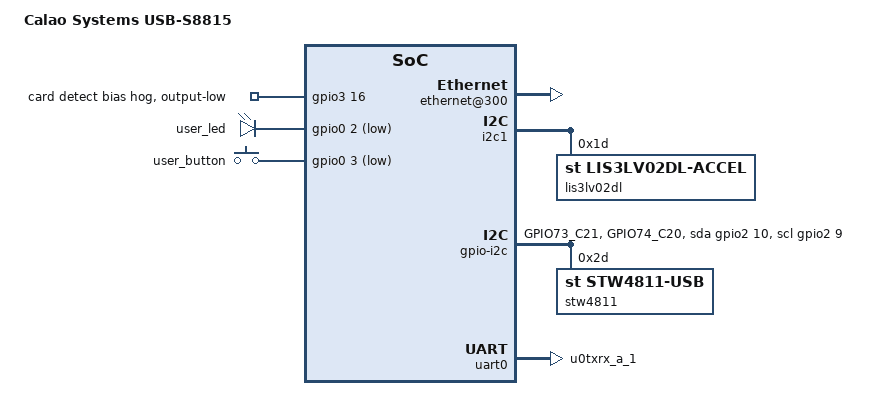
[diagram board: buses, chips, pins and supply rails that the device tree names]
// SPDX-License-Identifier: GPL-2.0
/*
 * Device Tree for the ST-Ericsson Nomadik S8815 board
 * Produced by Calao Systems
 */

/dts-v1/;
#include <dt-bindings/interrupt-controller/irq.h>
#include "ste-nomadik-stn8815.dtsi"

/ {
	model = "Calao Systems USB-S8815";
	compatible = "calaosystems,usb-s8815";

	chosen {
		bootargs = "root=/dev/ram0 console=ttyAMA1,115200n8 earlyprintk";
	};

	aliases {
		serial0 = &uart0;
		serial1 = &uart1;
	};

	gpio3: gpio@101e7000 {
		/* This hog will bias the MMC/SD card detect line */
		mmcsd-gpio {
			gpio-hog;
			gpios = <16 0x0>;
			output-low;
			line-name = "card detect bias";
		};
	};

	src@101e0000 {
		/* These chrystal drivers are not used on this board */
		disable-sxtalo;
		disable-mxtalo;
	};

	pinctrl {
		/* Hog CD pins */
		pinctrl-names = "default";
		pinctrl-0 = <&cd_default_mode>;

		uart0 {
			/* Only use RX/TX pins */
			uart0_s8815_mode: uart0_mux {
				u0_default_mux {
					function = "u0";
					groups = "u0txrx_a_1";
				};
			};
		};
		mmcsd-cd {
			cd_default_mode: cd_default {
				cd_default_cfg1 {
					/* CD input GPIO */
					pins = "GPIO111_H21";
					ste,input = <0>;
				};
				cd_default_cfg2 {
					/* CD GPIO biasing */
					pins = "GPIO112_J21";
					ste,output = <0>;
				};
			};
		};
		gpioi2c {
			gpioi2c_default_mode: gpioi2c_default {
				gpioi2c_default_cfg {
					pins = "GPIO73_C21", "GPIO74_C20";
					ste,input = <0>;
				};
			};
		};
		user-led {
			user_led_default_mode: user_led_default {
				user_led_default_cfg {
					pins = "GPIO2_C5";
					ste,output = <1>;
				};
			};
		};
		user-button {
			user_button_default_mode: user_button_default {
				user_button_default_cfg {
					pins = "GPIO3_A4";
					ste,input = <0>;
				};
			};
		};
	};

	/* Ethernet */
	external-bus@34000000 {
		compatible = "simple-bus";
		reg = <0x34000000 0x1000000>;
		#address-cells = <1>;
		#size-cells = <1>;
		ranges = <0 0x34000000 0x1000000>;
		ethernet@300 {
			compatible = "smsc,lan91c111";
			reg = <0x300 0x0fd00>;
			interrupt-parent = <&gpio3>;
			interrupts = <8 IRQ_TYPE_EDGE_RISING>;
		};
	};

	i2c1 {
		lis3lv02dl@1d {
			/* Accelerometer */
			compatible = "st,lis3lv02dl-accel";
			reg = <0x1d>;
		};
	};

	/* GPIO I2C connected to the USB portions of the STw4811 only */
	gpio-i2c {
		compatible = "i2c-gpio";
		gpios = <&gpio2 10 0>, /* sda */
			<&gpio2 9 0>; /* scl */
		#address-cells = <1>;
		#size-cells = <0>;
		pinctrl-names = "default";
		pinctrl-0 = <&gpioi2c_default_mode>;

		stw4811@2d {
			   compatible = "st,stw4811-usb";
			   reg = <0x2d>;
		};
	};


	amba {
		/* Activate RXTX on UART 0 */
		uart0: uart@101fd000 {
			pinctrl-names = "default";
			pinctrl-0 = <&uart0_s8815_mode>;
			status = "okay";
		};
		/* Configure card detect for the uSD slot */
		mmcsd: sdi@101f6000 {
			cd-gpios = <&gpio3 15 GPIO_ACTIVE_LOW>;
		};
	};

	/* The user LED on the board is set up to be used for heartbeat */
	leds {
		compatible = "gpio-leds";
		user-led {
			label = "user_led";
			gpios = <&gpio0 2 0x1>;
			default-state = "off";
			linux,default-trigger = "heartbeat";
			pinctrl-names = "default";
			pinctrl-0 = <&user_led_default_mode>;
		};
	};

	/* User key mapped in as "escape" */
	gpio-keys {
		compatible = "gpio-keys";
		user-button {
			label = "user_button";
			gpios = <&gpio0 3 0x1>;
			linux,code = <1>; /* KEY_ESC */
			wakeup-source;
			pinctrl-names = "default";
			pinctrl-0 = <&user_button_default_mode>;
		};
	};
};
